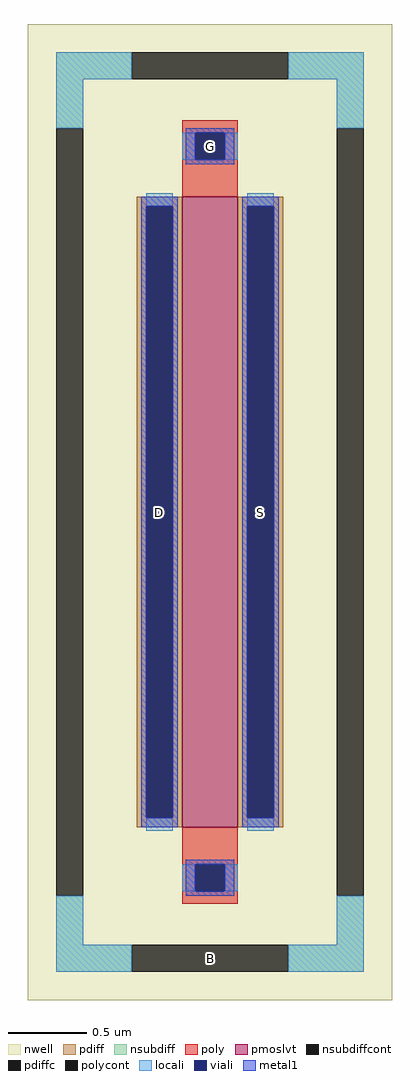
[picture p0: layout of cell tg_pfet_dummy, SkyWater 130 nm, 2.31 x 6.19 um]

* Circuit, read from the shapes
.subckt tg_pfet_dummy B D S G
XM1 S G D B sky130_fd_pr__pfet_01v8_lvt w=4 l=0.35
.ends

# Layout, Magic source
magic
tech sky130A
magscale 1 2
<< nwell >>
rect -231 -619 231 619
<< pmoslvt >>
rect -35 -400 35 400
<< pdiff >>
rect -93 388 -35 400
rect -93 -388 -81 388
rect -47 -388 -35 388
rect -93 -400 -35 -388
rect 35 388 93 400
rect 35 -388 47 388
rect 81 -388 93 388
rect 35 -400 93 -388
<< pdiffc >>
rect -81 -388 -47 388
rect 47 -388 81 388
<< nsubdiff >>
rect -195 549 -99 583
rect 99 549 195 583
rect -195 487 -161 549
rect 161 487 195 549
rect -195 -549 -161 -487
rect 161 -549 195 -487
rect -195 -583 -99 -549
rect 99 -583 195 -549
<< nsubdiffcont >>
rect -99 549 99 583
rect -195 -487 -161 487
rect 161 -487 195 487
rect -99 -583 99 -549
<< poly >>
rect -35 481 35 497
rect -35 447 -19 481
rect 19 447 35 481
rect -35 400 35 447
rect -35 -447 35 -400
rect -35 -481 -19 -447
rect 19 -481 35 -447
rect -35 -497 35 -481
<< polycont >>
rect -19 447 19 481
rect -19 -481 19 -447
<< locali >>
rect -195 549 -99 583
rect 99 549 195 583
rect -195 487 -161 549
rect 161 487 195 549
rect -35 447 -19 481
rect 19 447 35 481
rect -81 388 -47 404
rect -81 -404 -47 -388
rect 47 388 81 404
rect 47 -404 81 -388
rect -35 -481 -19 -447
rect 19 -481 35 -447
rect -195 -549 -161 -487
rect 161 -549 195 -487
rect -195 -583 -99 -549
rect 99 -583 195 -549
<< viali >>
rect -19 447 19 481
rect -81 -388 -47 388
rect 47 -388 81 388
rect -19 -481 19 -447
<< metal1 >>
rect -31 481 31 487
rect -31 447 -19 481
rect 19 447 31 481
rect -31 441 31 447
rect -87 388 -41 400
rect -87 -388 -81 388
rect -47 -388 -41 388
rect -87 -400 -41 -388
rect 41 388 87 400
rect 41 -388 47 388
rect 81 -388 87 388
rect 41 -400 87 -388
rect -31 -447 31 -441
rect -31 -481 -19 -447
rect 19 -481 31 -447
rect -31 -487 31 -481
<< labels >>
rlabel nsubdiffcont 0 -566 0 -566 0 B
port 1 nsew
rlabel pdiffc -64 0 -64 0 0 D
port 2 nsew
rlabel pdiffc 64 0 64 0 0 S
port 3 nsew
rlabel polycont 0 464 0 464 0 G
port 4 nsew
<< properties >>
string FIXED_BBOX -178 -566 178 566
<< end >>
